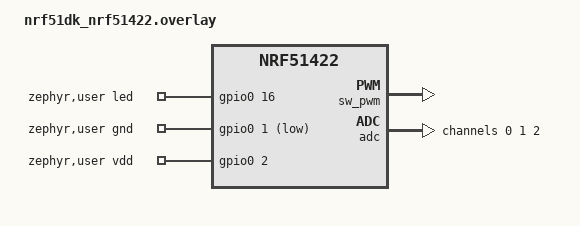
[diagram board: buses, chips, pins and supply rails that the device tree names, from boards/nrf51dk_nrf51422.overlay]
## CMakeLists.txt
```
# SPDX-License-Identifier: Apache-2.0

cmake_minimum_required(VERSION 3.20.0)
find_package(Zephyr REQUIRED HINTS $ENV{ZEPHYR_BASE})
project(rgb_led)

target_sources(app PRIVATE src/main.c src/demo.c)
```

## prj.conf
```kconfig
CONFIG_PRINTK=y
CONFIG_PWM=y
CONFIG_LOG=y
CONFIG_ADC=y
# CONFIG_ADC_ASYNC=y
CONFIG_ADC_NRFX_SAADC=y
```

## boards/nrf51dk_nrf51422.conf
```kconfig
CONFIG_ADC_NRFX_ADC=y
CONFIG_ADC_NRFX_ADC_CHANNEL_COUNT=4
```

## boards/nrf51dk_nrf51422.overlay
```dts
/* Copyright (c) 2021 Nordic Semiconductor ASA
 *
 * SPDX-License-Identifier: LicenseRef-Nordic-5-Clause
 */


/ {

	aliases {
		pwm-led1 = &pwm_led1;
		pwm-led2 = &pwm_led2;
		pwm-led3 = &pwm_led3;	
		red-pwm-led = &pwm_led1;
		green-pwm-led = &pwm_led2;
		blue-pwm-led = &pwm_led3;		
	};

	zephyr,user {
		led-gpios = <&gpio0 16 GPIO_ACTIVE_HIGH>;
		gnd-gpios = <&gpio0 1 GPIO_ACTIVE_LOW>;
		vdd-gpios = <&gpio0 2 GPIO_ACTIVE_HIGH>;
	};	

	pwmleds {
		pwm_led1: pwm_led_1 {
			pwms = <&sw_pwm 0 PWM_MSEC(20) PWM_POLARITY_INVERTED>;
		};
		pwm_led2: pwm_led_2 {
			pwms = <&sw_pwm 1 PWM_MSEC(20) PWM_POLARITY_INVERTED>;
		};
		pwm_led3: pwm_led_3 {
			pwms = <&sw_pwm 2 PWM_MSEC(20) PWM_POLARITY_INVERTED>;
		};	
	};
};

&sw_pwm {
	status ="okay";
	channel-gpios = <&gpio0 17 PWM_POLARITY_INVERTED>, <&gpio0 18 PWM_POLARITY_INVERTED>, <&gpio0 19 PWM_POLARITY_INVERTED>;
	clock-prescaler = <8>;
};

&spi1 {
	status ="disabled";
};

&adc {
	status = "okay";
	#address-cells = <1>;
	#size-cells = <0>;

	channel@0 {
		reg = <0>;
		zephyr,gain = "ADC_GAIN_1_3";
		zephyr,reference = "ADC_REF_VDD_1_3";
		zephyr,acquisition-time = <ADC_ACQ_TIME_DEFAULT>;
		zephyr,input-positive = <NRF_ADC_AIN4>;			
	};
	
	channel@1 {
		reg = <1>;
		zephyr,gain = "ADC_GAIN_1_3";
		zephyr,reference = "ADC_REF_VDD_1_3";
		zephyr,acquisition-time = <ADC_ACQ_TIME_DEFAULT>;
		zephyr,input-positive = <NRF_ADC_AIN5>;		
	};

	channel@2 {
		reg = <2>;
		zephyr,gain = "ADC_GAIN_1_3";
		zephyr,reference = "ADC_REF_VDD_1_3";
		zephyr,acquisition-time = <ADC_ACQ_TIME_DEFAULT>;
		zephyr,input-positive = <NRF_ADC_AIN6>;			
	};	
};
```

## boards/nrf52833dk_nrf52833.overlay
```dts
/* Copyright (c) 2021 Nordic Semiconductor ASA
 *
 * SPDX-License-Identifier: LicenseRef-Nordic-5-Clause
 */


/ {

	aliases {
		pwm-led1 = &pwm_led1;
		pwm-led2 = &pwm_led2;
		pwm-led3 = &pwm_led3;	
		red-pwm-led = &pwm_led1;
		green-pwm-led = &pwm_led2;
		blue-pwm-led = &pwm_led3;		
	};

	zephyr,user {
		led-gpios = <&gpio1 1 GPIO_ACTIVE_HIGH>;
		gnd-gpios = <&gpio0 3 GPIO_ACTIVE_LOW>;
		vdd-gpios = <&gpio0 4 GPIO_ACTIVE_HIGH>;
	};	

	pwmleds {
		pwm_led1: pwm_led_1 {
			pwms = <&pwm0 1 PWM_MSEC(20) PWM_POLARITY_INVERTED>;
		};
		pwm_led2: pwm_led_2 {
			pwms = <&pwm0 2 PWM_MSEC(20) PWM_POLARITY_INVERTED>;
		};
		pwm_led3: pwm_led_3 {
			pwms = <&pwm0 3 PWM_MSEC(20) PWM_POLARITY_INVERTED>;
		};	
	};
};

&pwm0 {
	pinctrl-0 = <&pwm0_default_alt>;
	pinctrl-1 = <&pwm0_sleep_alt>;
	pinctrl-names = "default", "sleep";
};

&spi1 {
	status ="disabled";
};

&adc {
	status = "okay";
	#address-cells = <1>;
	#size-cells = <0>;

	channel@0 {
		reg = <0>;
		zephyr,gain = "ADC_GAIN_1_4";
		zephyr,reference = "ADC_REF_VDD_1_4";
		zephyr,acquisition-time = <ADC_ACQ_TIME(ADC_ACQ_TIME_MICROSECONDS, 20)>;
		zephyr,input-positive = <NRF_SAADC_AIN4>;			
	};
	
	channel@1 {
		reg = <1>;
		zephyr,gain = "ADC_GAIN_1_4";
		zephyr,reference = "ADC_REF_VDD_1_4";
		zephyr,acquisition-time = <ADC_ACQ_TIME(ADC_ACQ_TIME_MICROSECONDS, 20)>;
		zephyr,input-positive = <NRF_SAADC_AIN5>;		
	};

	channel@2 {
		reg = <2>;
		zephyr,gain = "ADC_GAIN_1_4";
		zephyr,reference = "ADC_REF_VDD_1_4";
		zephyr,acquisition-time = <ADC_ACQ_TIME(ADC_ACQ_TIME_MICROSECONDS, 20)>;
		zephyr,input-positive = <NRF_SAADC_AIN6>;			
	};	
};

&pinctrl {
	pwm0_default_alt: pwm0_default_alt {
		group1 {
			psels = <NRF_PSEL(PWM_OUT1, 1, 2)>, <NRF_PSEL(PWM_OUT2, 1, 3)>, <NRF_PSEL(PWM_OUT3, 1, 4)>;
			nordic,invert;
			nordic,drive-mode = <NRF_DRIVE_H0H1>;	
		};
	};

	pwm0_sleep_alt: pwm0_sleep_alt {
		group1 {
			psels = <NRF_PSEL(PWM_OUT1, 1, 2)>, <NRF_PSEL(PWM_OUT2, 1, 3)>, <NRF_PSEL(PWM_OUT3, 1, 4)>;
			low-power-enable;
		};
	};
};
```

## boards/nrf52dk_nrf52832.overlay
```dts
/* Copyright (c) 2021 Nordic Semiconductor ASA
 *
 * SPDX-License-Identifier: LicenseRef-Nordic-5-Clause
 */


/ {

	aliases {
		pwm-led1 = &pwm_led1;
		pwm-led2 = &pwm_led2;
		pwm-led3 = &pwm_led3;	
		red-pwm-led = &pwm_led1;
		green-pwm-led = &pwm_led2;
		blue-pwm-led = &pwm_led3;		
	};

	zephyr,user {
		led-gpios = <&gpio0 22 GPIO_ACTIVE_HIGH>;
		gnd-gpios = <&gpio0 3 GPIO_ACTIVE_LOW>;
		vdd-gpios = <&gpio0 4 GPIO_ACTIVE_HIGH>;
	};	

	pwmleds {
		pwm_led1: pwm_led_1 {
			pwms = <&pwm0 1 PWM_MSEC(20) PWM_POLARITY_INVERTED>;
		};
		pwm_led2: pwm_led_2 {
			pwms = <&pwm0 2 PWM_MSEC(20) PWM_POLARITY_INVERTED>;
		};
		pwm_led3: pwm_led_3 {
			pwms = <&pwm0 3 PWM_MSEC(20) PWM_POLARITY_INVERTED>;
		};	
	};
};

&pwm0 {
	pinctrl-0 = <&pwm0_default_alt>;
	pinctrl-1 = <&pwm0_sleep_alt>;
	pinctrl-names = "default", "sleep";
};

&spi1 {
	status ="disabled";
};

&spi2 {
	status ="disabled";
};

&adc {
	status = "okay";
	#address-cells = <1>;
	#size-cells = <0>;

	channel@0 {
		reg = <0>;
		zephyr,gain = "ADC_GAIN_1_4";
		zephyr,reference = "ADC_REF_VDD_1_4";
		zephyr,acquisition-time = <ADC_ACQ_TIME(ADC_ACQ_TIME_MICROSECONDS, 20)>;
		zephyr,input-positive = <NRF_SAADC_AIN4>;			
	};
	
	channel@1 {
		reg = <1>;
		zephyr,gain = "ADC_GAIN_1_4";
		zephyr,reference = "ADC_REF_VDD_1_4";
		zephyr,acquisition-time = <ADC_ACQ_TIME(ADC_ACQ_TIME_MICROSECONDS, 20)>;
		zephyr,input-positive = <NRF_SAADC_AIN5>;		
	};

	channel@2 {
		reg = <2>;
		zephyr,gain = "ADC_GAIN_1_4";
		zephyr,reference = "ADC_REF_VDD_1_4";
		zephyr,acquisition-time = <ADC_ACQ_TIME(ADC_ACQ_TIME_MICROSECONDS, 20)>;
		zephyr,input-positive = <NRF_SAADC_AIN6>;			
	};	
};

&pinctrl {
	pwm0_default_alt: pwm0_default_alt {
		group1 {
			psels = <NRF_PSEL(PWM_OUT1, 0, 23)>, <NRF_PSEL(PWM_OUT2, 0, 24)>, <NRF_PSEL(PWM_OUT3, 0, 25)>;
			nordic,invert;
			nordic,drive-mode = <NRF_DRIVE_H0H1>;	
		};
	};

	pwm0_sleep_alt: pwm0_sleep_alt {
		group1 {
			psels = <NRF_PSEL(PWM_OUT1, 0, 23)>, <NRF_PSEL(PWM_OUT2, 0, 24)>, <NRF_PSEL(PWM_OUT3, 0, 25)>;
			low-power-enable;
		};
	};
};
```

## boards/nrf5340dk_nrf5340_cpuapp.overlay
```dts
/* Copyright (c) 2021 Nordic Semiconductor ASA
 *
 * SPDX-License-Identifier: LicenseRef-Nordic-5-Clause
 */


/ {

	aliases {
		pwm-led1 = &pwm_led1;
		pwm-led2 = &pwm_led2;
		pwm-led3 = &pwm_led3;	
		red-pwm-led = &pwm_led1;
		green-pwm-led = &pwm_led2;
		blue-pwm-led = &pwm_led3;		
	};

	zephyr,user {
		led-gpios = <&gpio1 0 GPIO_ACTIVE_HIGH>;
		gnd-gpios = <&gpio0 4 GPIO_ACTIVE_LOW>;
		vdd-gpios = <&gpio0 5 GPIO_ACTIVE_HIGH>;
	};	

	pwmleds {
		pwm_led1: pwm_led_1 {
			pwms = <&pwm0 1 PWM_MSEC(20) PWM_POLARITY_INVERTED>;
		};
		pwm_led2: pwm_led_2 {
			pwms = <&pwm0 2 PWM_MSEC(20) PWM_POLARITY_INVERTED>;
		};
		pwm_led3: pwm_led_3 {
			pwms = <&pwm0 3 PWM_MSEC(20) PWM_POLARITY_INVERTED>;
		};	
	};
};

&i2c1 {
	status ="disabled";
};

&gpio_fwd {
	status ="disabled";
};

&pwm0 {
	pinctrl-0 = <&pwm0_default_alt>;
	pinctrl-1 = <&pwm0_sleep_alt>;
	pinctrl-names = "default", "sleep";
};

&adc {
	status = "okay";
	#address-cells = <1>;
	#size-cells = <0>;

	channel@0 {
		reg = <0>;
		zephyr,gain = "ADC_GAIN_1_4";
		zephyr,reference = "ADC_REF_VDD_1_4";
		zephyr,acquisition-time = <ADC_ACQ_TIME(ADC_ACQ_TIME_MICROSECONDS, 20)>;
		zephyr,input-positive = <NRF_SAADC_AIN2>;			
	};
	
	channel@1 {
		reg = <1>;
		zephyr,gain = "ADC_GAIN_1_4";
		zephyr,reference = "ADC_REF_VDD_1_4";
		zephyr,acquisition-time = <ADC_ACQ_TIME(ADC_ACQ_TIME_MICROSECONDS, 20)>;
		zephyr,input-positive = <NRF_SAADC_AIN3>;		
	};

	channel@2 {
		reg = <2>;
		zephyr,gain = "ADC_GAIN_1_4";
		zephyr,reference = "ADC_REF_VDD_1_4";
		zephyr,acquisition-time = <ADC_ACQ_TIME(ADC_ACQ_TIME_MICROSECONDS, 20)>;
		zephyr,input-positive = <NRF_SAADC_AIN4>;			
	};	
};

&pinctrl {
	pwm0_default_alt: pwm0_default_alt {
		group1 {
			psels = <NRF_PSEL(PWM_OUT1, 0, 2)>,
					<NRF_PSEL(PWM_OUT2, 1, 4)>,
					<NRF_PSEL(PWM_OUT3, 1, 5)>;
			nordic,invert;
			nordic,drive-mode = <NRF_DRIVE_H0H1>;	
		};
	};

	pwm0_sleep_alt: pwm0_sleep_alt {
		group1 {
			psels = <NRF_PSEL(PWM_OUT1, 1, 1)>, <NRF_PSEL(PWM_OUT2, 1, 4)>, <NRF_PSEL(PWM_OUT3, 1, 5)>;
			low-power-enable;
		};
	};
};
```

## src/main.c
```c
/*
 * Copyright (c) 2016 Intel Corporation
 *
 * SPDX-License-Identifier: Apache-2.0
 */

/**
 * @file Sample app to demonstrate PWM-based RGB LED control
 */

#include <zephyr/kernel.h>
#include <zephyr/sys/printk.h>
#include <zephyr/device.h>
#include <zephyr/devicetree.h>
#include <zephyr/drivers/pwm.h>
#include <zephyr/drivers/gpio.h>
#include <zephyr/dt-bindings/gpio/nordic-nrf-gpio.h>
#include <zephyr/logging/log.h>
#include <zephyr/drivers/adc.h>
#ifndef CONFIG_BOARD_NRF51DK_NRF51422
#include <hal/nrf_saadc.h>
#endif

LOG_MODULE_REGISTER(main, CONFIG_LOG_DEFAULT_LEVEL);

#define ADC_DEVICE_NAME		DT_NODE_FULL_NAME(DT_NODELABEL(adc))
#define ADC_SAMPLE_INTERVAL	20  //unit:ms
#define BATTERY_VOLTAGE(sample) (sample * 6	* 600 / 1024)

#define ZEPHYR_USER_NODE DT_PATH(zephyr_user)
const struct gpio_dt_spec adc_gnd =
        GPIO_DT_SPEC_GET(ZEPHYR_USER_NODE, gnd_gpios);
const struct gpio_dt_spec adc_vdd =
        GPIO_DT_SPEC_GET(ZEPHYR_USER_NODE, vdd_gpios);

static const struct adc_channel_cfg ch0_cfg_dt =
    ADC_CHANNEL_CFG_DT(DT_CHILD(DT_NODELABEL(adc), channel_0));
static const struct adc_channel_cfg ch1_cfg_dt =
    ADC_CHANNEL_CFG_DT(DT_CHILD(DT_NODELABEL(adc), channel_1));
	static const struct adc_channel_cfg ch2_cfg_dt =
    ADC_CHANNEL_CFG_DT(DT_CHILD(DT_NODELABEL(adc), channel_2));

static const struct device *adc_dev;
static int16_t adc_buffer[3];

static struct adc_sequence sequence = {
	.options	= NULL,
	.buffer		= adc_buffer,
	.buffer_size	= sizeof(adc_buffer),
	.resolution	= 10,
	.oversampling	= 0,
	.calibrate	= false,
};

// static struct adc_sequence sequence_calibrate = {
// 	.options	= NULL,
// 	.channels	= BIT(ADC_CHANNEL_ID),
// 	.buffer		= adc_buffer,
// 	.buffer_size	= sizeof(adc_buffer),
// 	.resolution	= ADC_RESOLUTION,
// 	.oversampling	= ADC_OVERSAMPLING,
// 	.calibrate	= true,
// };

// static bool calibrated;


static int init_adc(void)
{
	int err;
	/* Configure the pin */
	gpio_pin_configure_dt(&adc_gnd, GPIO_OUTPUT);
	/* Set the pin to its active level */
	gpio_pin_set_dt(&adc_gnd, 1);

	/* Configure the pin */
	gpio_pin_configure_dt(&adc_vdd, GPIO_OUTPUT);
	/* Set the pin to its active level */
	gpio_pin_set_dt(&adc_vdd, 1);	

	adc_dev = device_get_binding(ADC_DEVICE_NAME);
	if (!adc_dev) {
		LOG_ERR("Cannot get ADC device");
		return -EIO;
	}

	err = adc_channel_setup(adc_dev, &ch0_cfg_dt);
	err |= adc_channel_setup(adc_dev, &ch1_cfg_dt);
	err |= adc_channel_setup(adc_dev, &ch2_cfg_dt);
	if (err) {
		LOG_ERR("Setting up the ADC channels failed:%d", err);
		return err;
	}

	return 0;
}

extern void set_rgb_pulse(uint32_t red, uint32_t green, uint32_t blue);

int adc_sample_sync(void)
{
	int err;

	sequence.channels = BIT(ch0_cfg_dt.channel_id) | BIT(ch1_cfg_dt.channel_id) | BIT(ch2_cfg_dt.channel_id);
	err = adc_read(adc_dev, &sequence);
	if (err) {
		LOG_WRN("ADC read err %d", err);
		return err;
	}
	// LOG_INF("R:%d G:%d B:%d", adc_buffer[0], adc_buffer[1], adc_buffer[2]);
	set_rgb_pulse(adc_buffer[0]*20000, adc_buffer[1]*20000, adc_buffer[2]*20000);

	return 0;
		
}

int main(void)
{	
	init_adc();
	k_sleep(K_SECONDS(9));

	while (1) {
        adc_sample_sync();
        k_sleep(K_MSEC(ADC_SAMPLE_INTERVAL)); 
	}
	return 0;
}
```

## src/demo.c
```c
/*
 * Copyright (c) 2020 Nordic Semiconductor ASA
 *
 * SPDX-License-Identifier: LicenseRef-BSD-5-Clause-Nordic
 */

#include <zephyr/kernel.h>
#include <zephyr/device.h>
#include <zephyr/devicetree.h>
#include <zephyr/drivers/pwm.h>
#include <zephyr/drivers/gpio.h>
#include <zephyr/dt-bindings/gpio/nordic-nrf-gpio.h>
#include <zephyr/logging/log.h>


LOG_MODULE_REGISTER(demo, CONFIG_LOG_DEFAULT_LEVEL);

#define ZEPHYR_USER_NODE DT_PATH(zephyr_user)

const struct gpio_dt_spec led_pwr =
        GPIO_DT_SPEC_GET(ZEPHYR_USER_NODE, led_gpios);

static const struct pwm_dt_spec red_pwm_led =
	PWM_DT_SPEC_GET(DT_ALIAS(red_pwm_led));
static const struct pwm_dt_spec green_pwm_led =
	PWM_DT_SPEC_GET(DT_ALIAS(green_pwm_led));
static const struct pwm_dt_spec blue_pwm_led =
	PWM_DT_SPEC_GET(DT_ALIAS(blue_pwm_led));

#define STEP_SIZE PWM_USEC(2000)

int blink(void)
{
	uint32_t pulse_red, pulse_green, pulse_blue; /* pulse widths */
	int ret;

		for (pulse_red = 0U; pulse_red <= red_pwm_led.period;
			pulse_red += STEP_SIZE) {
			ret = pwm_set_pulse_dt(&red_pwm_led, pulse_red);
			if (ret != 0) {
				printk("Error %d: red write failed\n", ret);
				return 0;
			}
			LOG_INF("Red duty:%d / cycle:%d", pulse_red, red_pwm_led.period);
			k_sleep(K_MSEC(200));
		}
		pwm_set_pulse_dt(&red_pwm_led, 0);

		for (pulse_green = 0U;
				pulse_green <= green_pwm_led.period;
				pulse_green += STEP_SIZE) {
			ret = pwm_set_pulse_dt(&green_pwm_led,
							pulse_green);
			if (ret != 0) {
				printk("Error %d: green write failed\n",
						ret);
				return 0;
			}
			LOG_INF("Green duty: %d / cycle %d", pulse_green, green_pwm_led.period);
			k_sleep(K_MSEC(200));
		}
		pwm_set_pulse_dt(&green_pwm_led, 0);

		for (pulse_blue = 0U;
				pulse_blue <= blue_pwm_led.period;
				pulse_blue += STEP_SIZE) {
			ret = pwm_set_pulse_dt(&blue_pwm_led,
							pulse_blue);
			if (ret != 0) {
				printk("Error %d: "
						"blue write failed\n",
						ret);
				return 0;
			}
			LOG_INF("Blue duty:%d / cycle:%d", pulse_blue, blue_pwm_led.period);
			k_sleep(K_MSEC(200));
		}
		pwm_set_pulse_dt(&blue_pwm_led,	0);	

		return 0;		
		
}

void set_rgb_pulse(uint32_t red, uint32_t green, uint32_t blue)
{
	int ret;

	if (red > red_pwm_led.period)
	{
		red = red_pwm_led.period;
	}

	if (green > green_pwm_led.period)
	{
		green = green_pwm_led.period;
	}

	if (blue > blue_pwm_led.period)
	{
		blue = blue_pwm_led.period;
	}

	ret = pwm_set_pulse_dt(&red_pwm_led, red);
	ret |= pwm_set_pulse_dt(&green_pwm_led,	green);	
	ret |= pwm_set_pulse_dt(&blue_pwm_led,	blue);
	if (ret)
	{
		LOG_ERR("RGB duty setting failed:%d", ret);
	}	

}

int demo_thread(void)
{	
	
	LOG_INF("**ADC sampling example");
	/* Configure the pin */
	gpio_pin_configure_dt(&led_pwr, GPIO_OUTPUT | NRF_GPIO_DRIVE_H0H1);

	/* Set the pin to its active level */
	gpio_pin_set_dt(&led_pwr, 1);

	printk("PWM-based RGB LED control\n");

	if (!pwm_is_ready_dt(&red_pwm_led) ||
	    !pwm_is_ready_dt(&green_pwm_led) ||
	    !pwm_is_ready_dt(&blue_pwm_led)) {
		printk("Error: one or more PWM devices not ready\n");
		return -EIO;
	}

	// while (1) {                
        LOG_INF("demo thread");
		blink();
	// }

	return 0;
}

K_THREAD_DEFINE(demo_thread_id, 1024, demo_thread, NULL, NULL,
		NULL, 7, 0, 0);
```
